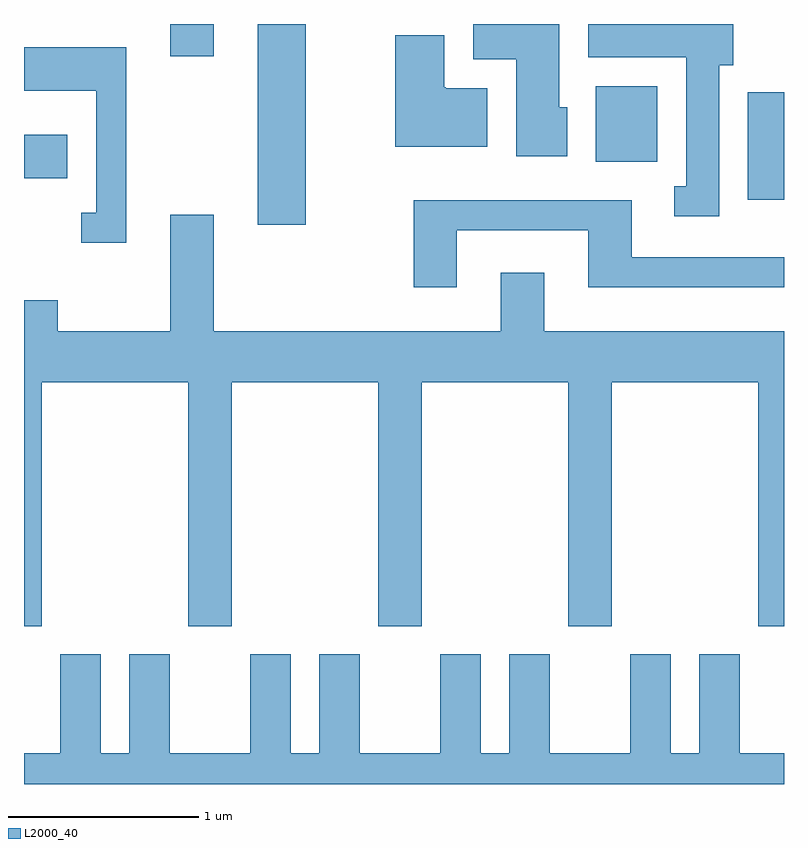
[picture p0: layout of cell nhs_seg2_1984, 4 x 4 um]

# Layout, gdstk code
import gdstk
lib = gdstk.Library(unit=1e-6, precision=1e-09)
def R(c, l, rs):  # rectangles x0, y0, x1, y1
    for r in rs: c.add(gdstk.rectangle(r[:2], r[2:], *l))
def P(c, l, *ps):  # polygons
    for p in ps: c.add(gdstk.Polygon(p, *l))
L2000_40 = (2000, 40)

nhs_seg2_1984 = lib.new_cell('nhs_seg2_1984')
R(nhs_seg2_1984, L2000_40, [(244.841,1004.746,245.094,1005.802), (247.421,1004.876,247.611,1005.444), (243.611,1004.991,243.839,1005.219), (246.621,1005.076,246.944,1005.474), (244.381,1005.631,244.609,1005.802)])
P(nhs_seg2_1984, L2000_40, [(246.469,1005.364),(246.429,1005.364),(246.429,1005.802),(245.976,1005.802),(245.976,1005.616),(246.201,1005.616),(246.201,1005.106),(246.469,1005.106)],
  [(247.269,1005.586),(247.344,1005.586),(247.344,1005.802),(246.581,1005.802),(246.581,1005.626),(247.096,1005.626),(247.096,1004.949),(247.033,1004.949),(247.033,1004.791),(247.269,1004.791)],
  [(246.049,1005.464),(245.83,1005.464),(245.83,1005.47),(245.824,1005.47),(245.824,1005.744),(245.566,1005.744),(245.566,1005.156),(246.049,1005.156)],
  [(244.149,1005.679),(243.611,1005.679),(243.611,1005.451),(243.991,1005.451),(243.991,1004.809),(243.913,1004.809),(243.913,1004.651),(244.149,1004.651)],
  [(245.889,1004.716),(246.581,1004.716),(246.581,1004.416),(247.611,1004.416),(247.611,1004.574),(246.809,1004.574),(246.809,1004.874),(245.661,1004.874),(245.661,1004.416),(245.889,1004.416)],
  [(243.704,1003.916),(244.476,1003.916),(244.476,1002.631),(244.704,1002.631),(244.704,1003.916),(245.476,1003.916),(245.476,1002.631),(245.704,1002.631),(245.704,1003.916),(246.476,1003.916),(246.476,1002.631),(246.704,1002.631),(246.704,1003.916),(247.476,1003.916),(247.476,1002.631),(247.611,1002.631),(247.611,1004.184),(246.349,1004.184),(246.349,1004.494),(246.121,1004.494),(246.121,1004.184),(244.609,1004.184),(244.609,1004.799),(244.381,1004.799),(244.381,1004.184),(243.789,1004.184),(243.789,1004.349),(243.611,1004.349),(243.611,1002.631),(243.704,1002.631)],
  [(247.611,1001.964),(247.379,1001.964),(247.379,1002.484),(247.166,1002.484),(247.166,1001.964),(247.014,1001.964),(247.014,1002.484),(246.801,1002.484),(246.801,1001.964),(246.379,1001.964),(246.379,1002.484),(246.166,1002.484),(246.166,1001.964),(246.014,1001.964),(246.014,1002.484),(245.801,1002.484),(245.801,1001.964),(245.379,1001.964),(245.379,1002.484),(245.166,1002.484),(245.166,1001.964),(245.014,1001.964),(245.014,1002.484),(244.801,1002.484),(244.801,1001.964),(244.379,1001.964),(244.379,1002.484),(244.166,1002.484),(244.166,1001.964),(244.014,1001.964),(244.014,1002.484),(243.801,1002.484),(243.801,1001.964),(243.611,1001.964),(243.611,1001.802),(247.611,1001.802)])

lib.write_gds('nhs_seg2_1984.gds')
